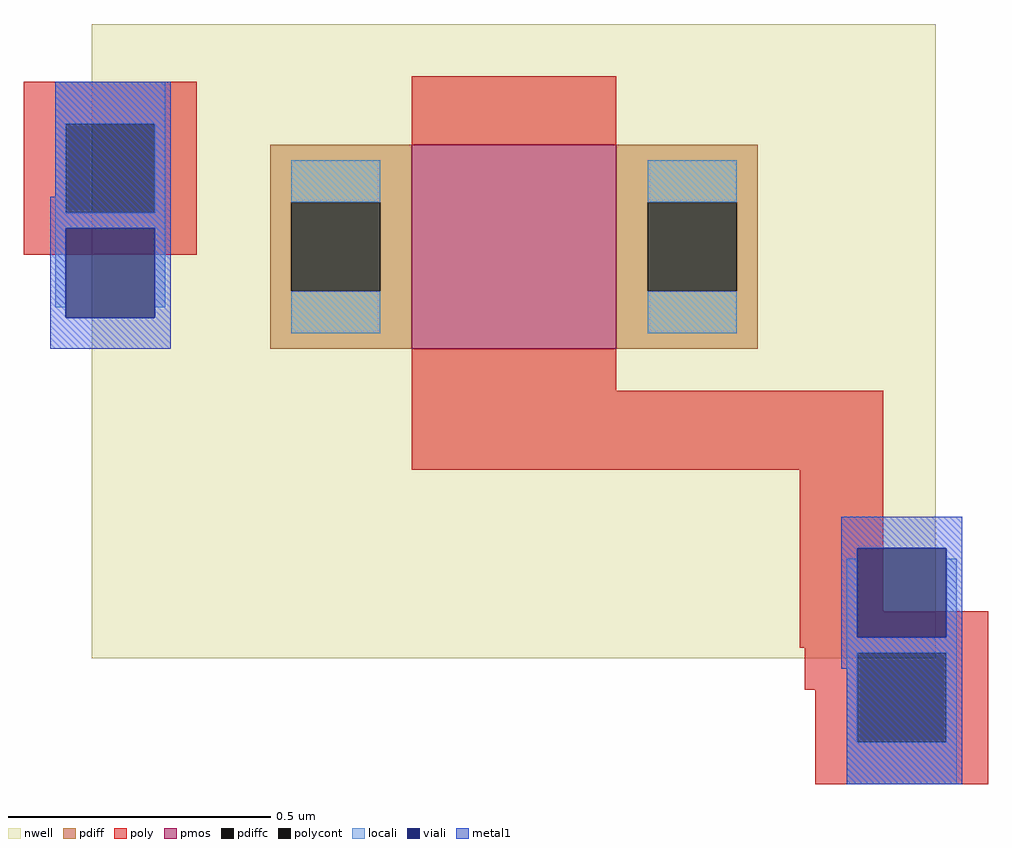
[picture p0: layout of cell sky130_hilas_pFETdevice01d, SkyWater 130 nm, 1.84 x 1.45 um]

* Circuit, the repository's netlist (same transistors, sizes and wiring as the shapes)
* NGSPICE file created from /home/bjmuld/work/hilas/fastlane/PDKs/sky130A_hilas/libs.ref/sky130_hilas_sc/mag/sky130_hilas_pFETdevice01d.ext - technology: sky130A


* Top level circuit /home/bjmuld/work/hilas/fastlane/PDKs/sky130A_hilas/libs.ref/sky130_hilas_sc/mag/sky130_hilas_pFETdevice01d

X0 a_42_n38# a_n36_n84# a_n90_n38# w_n158_n156# sky130_fd_pr__pfet_01v8 w=390000u l=390000u
.end

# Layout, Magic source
magic
tech sky130A
<< nwell >>
rect -79 -78 82 43
<< pmos >>
rect -18 -19 21 20
<< pdiff >>
rect -45 9 -18 20
rect -45 -8 -41 9
rect -24 -8 -18 9
rect -45 -19 -18 -8
rect 21 9 48 20
rect 21 -8 27 9
rect 44 -8 48 9
rect 21 -19 48 -8
<< pdiffc >>
rect -41 -8 -24 9
rect 27 -8 44 9
<< poly >>
rect -18 20 21 33
rect -18 -27 21 -19
rect -18 -42 72 -27
rect 56 -76 72 -42
rect 57 -84 59 -76
<< locali >>
rect -41 9 -24 17
rect -41 -16 -24 -8
rect 27 9 44 17
rect 27 -16 44 -8
use sky130_hilas_poly2m1  sky130_hilas_poly2m1_2
transform 1 0 68 0 -1 -77
box -9 -26 24 25
use sky130_hilas_poly2m1  sky130_hilas_poly2m1_0
transform 1 0 -83 0 1 7
box -9 -26 24 25
<< end >>

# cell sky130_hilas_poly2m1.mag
magic
tech sky130A
<< poly >>
rect -9 17 24 25
rect -9 0 -1 17
rect 16 0 24 17
rect -9 -8 24 0
<< polycont >>
rect -1 0 16 17
<< locali >>
rect -3 17 18 25
rect -3 0 -1 17
rect 16 0 18 17
rect -3 -3 18 0
rect -3 -18 -1 -3
rect 16 -18 18 -3
<< viali >>
rect -1 -20 16 -3
<< metal1 >>
rect -3 3 19 25
rect -4 -3 19 3
rect -4 -20 -1 -3
rect 16 -20 19 -3
rect -4 -26 19 -20
<< end >>
